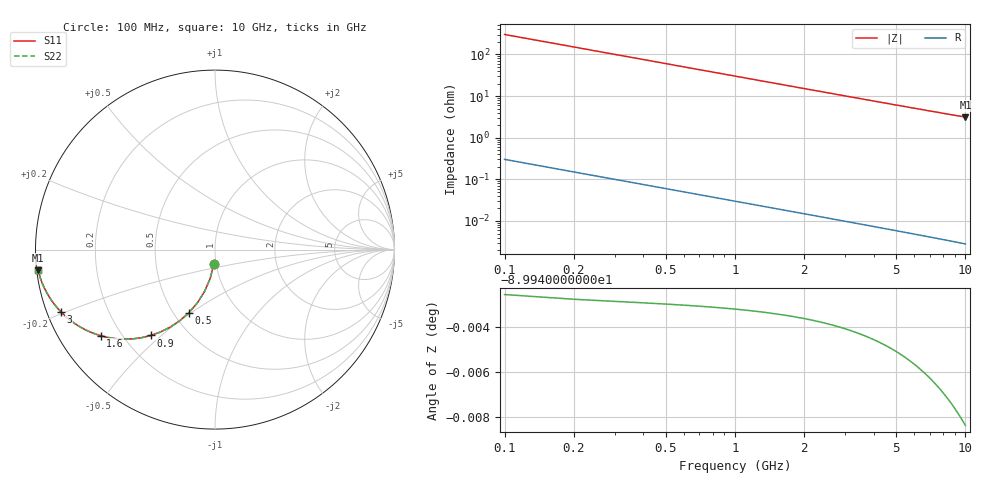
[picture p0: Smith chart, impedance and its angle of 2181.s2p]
# Hz S RI R 50.00
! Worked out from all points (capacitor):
!   100 points, 100 MHz to 10 GHz, reference 50 ohm
!   read as one part in shunt: C = 5.28 pF near 100 MHz
!   lowest |Z| = 3.12 ohm at 10 GHz (marker M1)
!   S11 on the Smith chart (normalised r, x): 100 MHz: 0.97, -0.16; 500 MHz: 0.59, -0.49; 900 MHz: 0.31, -0.46; 1.6 GHz: 0.12, -0.33; 3 GHz: 0.04, -0.19; 10 GHz: 0.00, -0.06
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1e8  -0.00691 -0.0824  0.9931 -0.0825  0.9931 -0.0825  -0.00691 -0.0824
2e8  -0.027 -0.1614  0.973 -0.1616  0.973 -0.1616  -0.027 -0.1614
3e8  -0.0586 -0.2342  0.9414 -0.2345  0.9414 -0.2345  -0.0586 -0.2342
4e8  -0.0995 -0.2987  0.9005 -0.299  0.9005 -0.299  -0.0995 -0.2987
5e8  -0.1471 -0.3535  0.8528 -0.354  0.8528 -0.354  -0.1471 -0.3535
6e8  -0.1989 -0.3984  0.8011 -0.3989  0.8011 -0.3989  -0.1989 -0.3984
7e8  -0.2525 -0.4336  0.7475 -0.4342  0.7475 -0.4342  -0.2525 -0.4336
9e8  -0.358 -0.4786  0.6419 -0.4793  0.6419 -0.4793  -0.358 -0.4786
1.2e9  -0.4976 -0.499  0.5024 -0.5  0.5024 -0.5  -0.4976 -0.499
1.4e9  -0.5739 -0.4934  0.4261 -0.4946  0.4261 -0.4946  -0.5739 -0.4934
1.6e9  -0.6374 -0.4796  0.3626 -0.4809  0.3626 -0.4809  -0.6374 -0.4796
1.8e9  -0.6897 -0.4614  0.3103 -0.4628  0.3103 -0.4628  -0.6897 -0.4614
2e9  -0.7328 -0.4412  0.2672 -0.4428  0.2672 -0.4428  -0.7328 -0.4412
2.3e9  -0.7837 -0.4103  0.2163 -0.4122  0.2163 -0.4122  -0.7837 -0.4103
2.6e9  -0.8222 -0.3808  0.1778 -0.3829  0.1778 -0.3829  -0.8222 -0.3808
3e9  -0.8601 -0.3451  0.1398 -0.3476  0.1398 -0.3476  -0.8601 -0.3451
3.4e9  -0.8875 -0.314  0.1125 -0.3168  0.1125 -0.3168  -0.8875 -0.314
4.2e9  -0.9232 -0.2641  0.0768 -0.2675  0.0768 -0.2675  -0.9232 -0.2641
5.1e9  -0.9465 -0.2224  0.0535 -0.2266  0.0535 -0.2266  -0.9465 -0.2224
6.7e9  -0.9682 -0.172  0.0317 -0.1776  0.0317 -0.1776  -0.9682 -0.172
8.4e9  -0.9796 -0.1373  0.0204 -0.1444  0.0204 -0.1444  -0.9796 -0.1373
1e10  -0.9855 -0.1146  0.0144 -0.123  0.0144 -0.123  -0.9855 -0.1146
